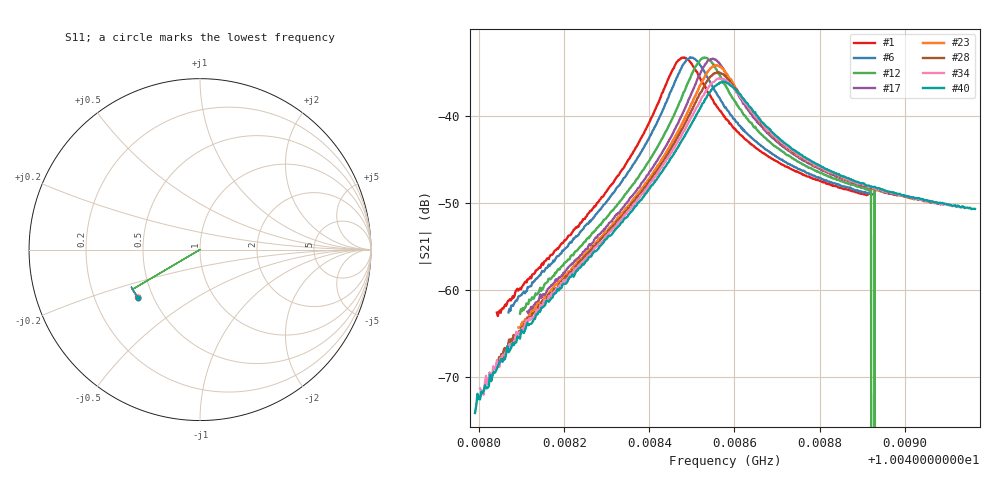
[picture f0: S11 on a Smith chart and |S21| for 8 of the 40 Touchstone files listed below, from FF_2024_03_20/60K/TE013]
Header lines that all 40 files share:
#  HZ  S  RI  R  50.00
! Rohde & Schwarz Vector Network Analyzer
! Rohde-Schwarz,ZNB20-2Port,1311601062101988,3.16
! freq[Hz]  re:S11  im:S11  re:S21  im:S21  re:S12  im:S12  re:S22  im:S22
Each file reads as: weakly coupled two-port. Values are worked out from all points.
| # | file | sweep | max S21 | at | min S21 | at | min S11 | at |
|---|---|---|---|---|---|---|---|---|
| 1 | 0_3_58.0_58.8300095_0.572_2.4241600036621094_.s2p | 10.048042 GHz to 10.048913 GHz | -33.33 dB | 10.048482 GHz | -63.0 dB | 10.048044 GHz | -6.8 dB | 10.048479 GHz |
| 2 | 1_3_57.9997_58.8307381_0.572_4.834363698959351_.s2p | 10.048052 GHz to 10.048915 GHz | -33.34 dB | 10.048488 GHz | -62.3 dB | 10.048052 GHz | -6.8 dB | 10.048483 GHz |
| 3 | 2_3_58.0003_58.8323708_0.767_8.665922164916992_.s2p | 10.048052 GHz to 10.048922 GHz | -33.35 dB | 10.048487 GHz | -62.6 dB | 10.048056 GHz | -6.8 dB | 10.048478 GHz |
| 4 | 3_3_57.9996_58.834549_0.872_11.086507320404053_.s2p | 10.048057 GHz to 10.048923 GHz | -33.32 dB | 10.04849 GHz | -62.7 dB | 10.048057 GHz | -6.8 dB | 10.048483 GHz |
| 5 | 4_3_58.0003_58.8337288_0.767_13.495747089385986_.s2p | 10.048064 GHz to 10.048926 GHz | -33.34 dB | 10.048493 GHz | -62.4 dB | 10.048064 GHz | -6.8 dB | 10.048491 GHz |
| 6 | 5_3_57.9997_58.8387871_0.782_15.931286573410034_.s2p | 10.048069 GHz to 10.048927 GHz | -33.32 dB | 10.048496 GHz | -62.6 dB | 10.048069 GHz | -6.8 dB | 10.048496 GHz |
| 7 | 6_3_58.0003_58.8386993_0.767_23.97725009918213_.s2p | 10.048071 GHz to 10.048932 GHz | -33.35 dB | 10.048506 GHz | -62.9 dB | 10.048071 GHz | -6.8 dB | 10.048508 GHz |
| 8 | 7_3_57.9998_58.8414154_0.812_26.402634382247925_.s2p | 10.048079 GHz to 10.048942 GHz | -33.36 dB | 10.04851 GHz | -62.4 dB | 10.048079 GHz | -6.8 dB | 10.04851 GHz |
| 9 | 8_3_58.0003_58.8427696_5.303_28.968912601470947_.s2p | 10.048083 GHz to 10.048948 GHz | -33.34 dB | 10.048515 GHz | -62.6 dB | 10.048085 GHz | -6.8 dB | 10.048503 GHz |
| 10 | 9_3_58.0_58.8444977_187.002_31.392338752746582_.s2p | 10.048084 GHz to 10.048953 GHz | -33.36 dB | 10.048519 GHz | -62.6 dB | 10.048086 GHz | -6.8 dB | 10.048519 GHz |
| 11 | 10_3_58.0001_58.8455849_403.181_33.82041001319885_.s2p | 10.04809 GHz to 10.048955 GHz | -33.36 dB | 10.048527 GHz | -62.5 dB | 10.048094 GHz | -6.8 dB | 10.048527 GHz |
| 12 | 11_3_58.0002_58.8479385_671.391_36.21935534477234_.s2p | 10.048096 GHz to 10.04896 GHz | -33.35 dB | 10.04853 GHz | -62.7 dB | 10.048096 GHz | -6.8 dB | 10.048524 GHz |
| 13 | 12_3_58.0004_58.8472137_918.509_38.629188537597656_.s2p | 10.048102 GHz to 10.048964 GHz | -33.38 dB | 10.048535 GHz | -62.4 dB | 10.048102 GHz | -6.8 dB | 10.048531 GHz |
| 14 | 13_3_58.0006_58.8488426_1157.053_41.1204149723053_.s2p | 10.048106 GHz to 10.048971 GHz | -33.35 dB | 10.04854 GHz | -62.4 dB | 10.048106 GHz | -6.8 dB | 10.048534 GHz |
| 15 | 14_3_58.0001_58.8495674_1386.029_43.51004195213318_.s2p | 10.048112 GHz to 10.048974 GHz | -33.39 dB | 10.048541 GHz | -62.4 dB | 10.048112 GHz | -6.8 dB | 10.048545 GHz |
| 16 | 15_3_58.0007_58.8508339_1643.208_45.93085765838623_.s2p | 10.048111 GHz to 10.048981 GHz | -33.42 dB | 10.048544 GHz | -62.6 dB | 10.048116 GHz | -6.8 dB | 10.04854 GHz |
| 17 | 16_3_57.9999_58.8514748_1878.597_48.33148431777954_.s2p | 10.048113 GHz to 10.048984 GHz | -33.47 dB | 10.048549 GHz | -62.7 dB | 10.048116 GHz | -6.8 dB | 10.04854 GHz |
| 18 | 17_3_57.9999_58.8520164_2107.577_50.765995502471924_.s2p | 10.048116 GHz to 10.048987 GHz | -33.57 dB | 10.048549 GHz | -62.7 dB | 10.048116 GHz | -6.8 dB | 10.048543 GHz |
| 19 | 18_3_58.0007_58.8544617_2357.355_53.17582106590271_.s2p | 10.048108 GHz to 10.048999 GHz | -33.69 dB | 10.048554 GHz | -63.1 dB | 10.048111 GHz | -6.8 dB | 10.048549 GHz |
| 20 | 19_3_58.0001_58.8559074_2576.909_55.6189820766449_.s2p | 10.048107 GHz to 10.049003 GHz | -33.74 dB | 10.048553 GHz | -63.6 dB | 10.048109 GHz | -6.8 dB | 10.048551 GHz |
| 21 | 20_3_58.0005_58.8566322_2825.957_58.0303168296814_.s2p | 10.048105 GHz to 10.049008 GHz | -33.87 dB | 10.048554 GHz | -63.6 dB | 10.048107 GHz | -6.8 dB | 10.048543 GHz |
| 22 | 21_3_58.0001_58.8567238_3074.807_60.53758883476257_.s2p | 10.048105 GHz to 10.04901 GHz | -34.03 dB | 10.048555 GHz | -63.6 dB | 10.048105 GHz | -6.8 dB | 10.048546 GHz |
| 23 | 22_3_58.0003_58.8568192_3323.91_62.94447112083435_.s2p | 10.048093 GHz to 10.049026 GHz | -34.23 dB | 10.048555 GHz | -64.3 dB | 10.048093 GHz | -6.8 dB | 10.048555 GHz |
| 24 | 23_3_57.9999_58.8578987_3560.022_65.377281665802_.s2p | 10.048083 GHz to 10.049038 GHz | -34.40 dB | 10.048561 GHz | -65.0 dB | 10.048085 GHz | -6.8 dB | 10.048556 GHz |
| 25 | 24_3_57.9999_58.8594437_3809.417_67.7880687713623_.s2p | 10.048072 GHz to 10.049051 GHz | -34.58 dB | 10.048557 GHz | -65.8 dB | 10.048072 GHz | -6.8 dB | 10.048552 GHz |
| 26 | 25_3_57.9996_58.8583527_4050.379_70.21109676361084_.s2p | 10.04806 GHz to 10.049066 GHz | -34.67 dB | 10.04856 GHz | -66.5 dB | 10.04806 GHz | -6.8 dB | 10.04855 GHz |
| 27 | 26_3_58.0004_58.861351_4280.415_72.63304734230042_.s2p | 10.048063 GHz to 10.049065 GHz | -34.91 dB | 10.048559 GHz | -66.4 dB | 10.048065 GHz | -6.8 dB | 10.048564 GHz |
| 28 | 27_3_58.0002_58.8637962_4531.401_75.06753635406494_.s2p | 10.048044 GHz to 10.049084 GHz | -35.05 dB | 10.04856 GHz | -68.3 dB | 10.04804 GHz | -6.8 dB | 10.04855 GHz |
| 29 | 28_3_58.0006_58.862587_4771.686_77.49965143203735_.s2p | 10.048038 GHz to 10.049091 GHz | -35.21 dB | 10.04856 GHz | -68.4 dB | 10.04804 GHz | -6.8 dB | 10.04856 GHz |
| 30 | 29_3_58.0_58.8670273_5562.219_85.55561089515686_.s2p | 10.048036 GHz to 10.049096 GHz | -35.47 dB | 10.04856 GHz | -69.0 dB | 10.04804 GHz | -6.8 dB | 10.04856 GHz |
| 31 | 30_3_57.9996_58.8695641_5822.293_87.98969149589539_.s2p | 10.048027 GHz to 10.049108 GHz | -35.62 dB | 10.04856 GHz | -69.4 dB | 10.04803 GHz | -6.8 dB | 10.04856 GHz |
| 32 | 31_3_58.0002_58.8704681_6062.542_90.41474866867065_.s2p | 10.048009 GHz to 10.049129 GHz | -35.68 dB | 10.04857 GHz | -71.4 dB | 10.04801 GHz | -6.8 dB | 10.04856 GHz |
| 33 | 32_3_57.9999_58.8718262_6312.709_92.83416438102722_.s2p | 10.048002 GHz to 10.049138 GHz | -35.67 dB | 10.04856 GHz | -71.6 dB | 10.04801 GHz | -6.8 dB | 10.04855 GHz |
| 34 | 33_3_58.0005_58.873188_6553.039_95.22153973579407_.s2p | 10.048002 GHz to 10.04914 GHz | -35.72 dB | 10.04857 GHz | -72.0 dB | 10.04801 GHz | -6.8 dB | 10.04856 GHz |
| 35 | 34_3_58.0004_58.8724594_6793.83_97.64265203475952_.s2p | 10.048007 GHz to 10.049137 GHz | -35.78 dB | 10.04856 GHz | -72.0 dB | 10.04801 GHz | -6.8 dB | 10.04857 GHz |
| 36 | 35_3_58.001_58.873455_7033.567_100.05512595176697_.s2p | 10.048003 GHz to 10.049143 GHz | -35.83 dB | 10.04857 GHz | -72.0 dB | 10.04801 GHz | -6.8 dB | 10.04856 GHz |
| 37 | 36_3_58.0_58.8754654_7273.737_102.4915542602539_.s2p | 10.048003 GHz to 10.049144 GHz | -35.91 dB | 10.04857 GHz | -72.3 dB | 10.04801 GHz | -6.8 dB | 10.04857 GHz |
| 38 | 37_3_58.0001_58.876461_7533.533_104.91371417045593_.s2p | 10.047996 GHz to 10.049155 GHz | -35.96 dB | 10.04857 GHz | -73.2 dB | 10.048 GHz | -6.8 dB | 10.04855 GHz |
| 39 | 38_3_58.0001_58.876545_7753.974_107.34526014328003_.s2p | 10.048002 GHz to 10.049149 GHz | -36.05 dB | 10.04858 GHz | -72.5 dB | 10.048 GHz | -6.8 dB | 10.04856 GHz |
| 40 | 39_3_58.0002_58.8774567_8014.161_109.76588654518127_.s2p | 10.04799 GHz to 10.049166 GHz | -36.13 dB | 10.04858 GHz | -74.1 dB | 10.04799 GHz | -6.8 dB | 10.04856 GHz |
